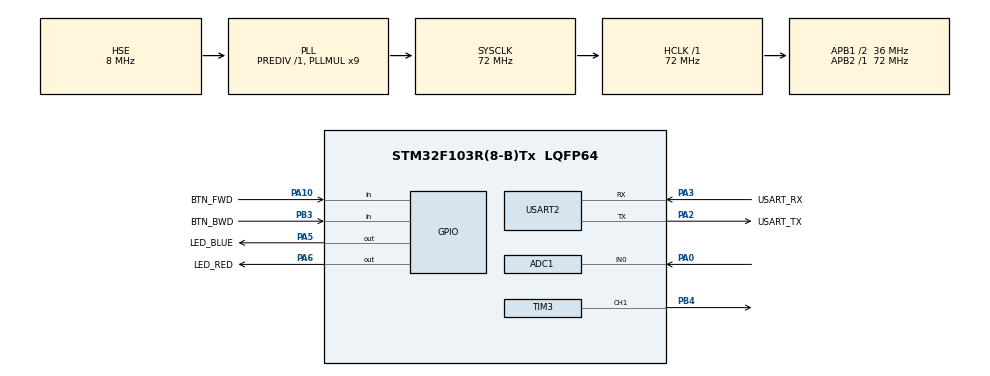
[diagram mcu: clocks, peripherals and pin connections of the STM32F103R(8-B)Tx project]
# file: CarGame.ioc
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ADC1.Channel-1\#ChannelRegularConversion=ADC_CHANNEL_0
ADC1.EnableInjectedConversion=DISABLE
ADC1.InjNumberOfConversion=1
ADC1.NbrOfConversion=1
ADC1.NbrOfConversionFlag=1
ADC1.Rank-1\#ChannelRegularConversion=1
ADC1.SamplingTime-1\#ChannelRegularConversion=ADC_SAMPLETIME_13CYCLES_5
ADC1.master=1
Mcu.Family=STM32F1
Mcu.Name=STM32F103R(8-B)Tx
Mcu.Package=LQFP64
NVIC.PriorityGroup=NVIC_PRIORITYGROUP_4
PA0-WKUP.Signal=ADCx_IN0
PA10.GPIO_Label=BTN_FWD
PA10.GPIO_PuPd=GPIO_PULLUP
PA10.Signal=GPIO_Input
PA13.GPIO_Label=TMS
PA13.Mode=Serial_Wire
PA13.Signal=SYS_JTMS-SWDIO
PA14.GPIO_Label=TCK
PA14.Mode=Serial_Wire
PA14.Signal=SYS_JTCK-SWCLK
PA2.GPIO_Label=USART_TX
PA2.Mode=Asynchronous
PA2.Signal=USART2_TX
PA3.GPIO_Label=USART_RX
PA3.Mode=Asynchronous
PA3.Signal=USART2_RX
PA5.GPIO_Label=LED_BLUE
PA5.Signal=GPIO_Output
PA6.GPIO_Label=LED_RED
PA6.Signal=GPIO_Output
PB3.GPIO_Label=BTN_BWD
PB3.GPIO_PuPd=GPIO_PULLUP
PB3.Signal=GPIO_Input
PB4.Signal=S_TIM3_CH1
PC14-OSC32_IN.Signal=RCC_OSC32_IN
PC15-OSC32_OUT.Signal=RCC_OSC32_OUT
PD0-OSC_IN.Mode=HSE-External-Oscillator
PD0-OSC_IN.Signal=RCC_OSC_IN
PD1-OSC_OUT.Mode=HSE-External-Oscillator
PD1-OSC_OUT.Signal=RCC_OSC_OUT
ProjectManager.HeapSize=0x200
ProjectManager.StackSize=0x400
ProjectManager.TargetToolchain=MDK-ARM V5.32
RCC.ADCPresc=RCC_ADCPCLK2_DIV6
RCC.AHBFreq_Value=72000000
RCC.APB1CLKDivider=RCC_HCLK_DIV2
RCC.APB1Freq_Value=36000000
RCC.APB1TimFreq_Value=72000000
RCC.APB2Freq_Value=72000000
RCC.APB2TimFreq_Value=72000000
RCC.HCLKFreq_Value=72000000
RCC.PLLMUL=RCC_PLL_MUL9
RCC.PLLSourceVirtual=RCC_PLLSOURCE_HSE
RCC.SYSCLKFreq_VALUE=72000000
RCC.SYSCLKSource=RCC_SYSCLKSOURCE_PLLCLK
RCC.USBFreq_Value=72000000
SH.ADCx_IN0.0=ADC1_IN0,IN0
SH.S_TIM3_CH1.0=TIM3_CH1,PWM Generation1 CH1
TIM3.Channel-PWM\ Generation1\ CH1=TIM_CHANNEL_1
TIM3.Period=249
TIM3.Prescaler=71
USART2.VirtualMode=VM_ASYNC
VP_TIM3_VS_ClockSourceINT.Mode=Internal
board=NUCLEO-F103RB

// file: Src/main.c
/* USER CODE BEGIN Header */
/**
  ******************************************************************************
  * @file           : main.c
  * @brief          : CarGame Controller
  ******************************************************************************
  */
/* USER CODE END Header */
#include "main.h"
#include "adc.h"
#include "tim.h"
#include "usart.h"
#include "gpio.h"

/* USER CODE BEGIN Includes */
#include "stdio.h"
/* USER CODE END Includes */

/* USER CODE BEGIN PV */
uint16_t adc_value = 512;
uint8_t forward_btn = 0;
uint8_t backward_btn = 0;

uint32_t red_led_timer = 0;
uint32_t blue_led_timer = 0;
uint32_t buzzer_timer = 0;
/* USER CODE END PV */

void SystemClock_Config(void);
/* USER CODE BEGIN PFP */
void set_red_led(uint8_t state);
void set_blue_led(uint8_t state);
void buzzer_beep(uint32_t duration_ms);
void buzzer_off(void);
void read_buttons(void);
/* USER CODE END PFP */

/* USER CODE BEGIN 0 */
void set_red_led(uint8_t state)
{
	HAL_GPIO_WritePin(LED_RED_GPIO_Port, LED_RED_Pin, state ? GPIO_PIN_SET : GPIO_PIN_RESET);
}

void set_blue_led(uint8_t state)
{
	HAL_GPIO_WritePin(LED_BLUE_GPIO_Port, LED_BLUE_Pin, state ? GPIO_PIN_SET : GPIO_PIN_RESET);
}

void buzzer_beep(uint32_t duration_ms)
{
	__HAL_TIM_SET_AUTORELOAD(&htim3, 500 - 1);
  __HAL_TIM_SET_COMPARE(&htim3, TIM_CHANNEL_1, 250);
  HAL_TIM_PWM_Start(&htim3, TIM_CHANNEL_1);
  buzzer_timer = HAL_GetTick() + duration_ms;
}

void buzzer_off(void)
{
	HAL_TIM_PWM_Stop(&htim3, TIM_CHANNEL_1);
}

void read_buttons(void)
{
    forward_btn  =	(HAL_GPIO_ReadPin(BTN_FWD_GPIO_Port, BTN_FWD_Pin) == GPIO_PIN_RESET) ? 1 : 0;
    backward_btn =	(HAL_GPIO_ReadPin(BTN_BWD_GPIO_Port, BTN_BWD_Pin) == GPIO_PIN_RESET) ? 1 : 0;
}
/* USER CODE END 0 */

int main(void)
{

  /* MCU Configuration--------------------------------------------------------*/

  /* Reset of all peripherals, Initializes the Flash interface and the Systick. */
  HAL_Init();

  /* Configure the system clock */
  SystemClock_Config();

  /* Initialize all configured peripherals */
  MX_GPIO_Init();
  MX_ADC1_Init();
  MX_TIM3_Init();
  MX_USART2_UART_Init();
  /* USER CODE BEGIN 2 */
  set_red_led(0);
  set_blue_led(0);
  buzzer_off();
  /* USER CODE END 2 */

  /* Infinite loop */
  while (1)
  {

    /* USER CODE BEGIN 3 */
    read_buttons();

    HAL_ADC_Start(&hadc1);
    if (HAL_ADC_PollForConversion(&hadc1, 5) == HAL_OK)
		{
			adc_value = (uint16_t)(HAL_ADC_GetValue(&hadc1) >> 2);
    }

    char tx_buffer[32];
    int len = snprintf(tx_buffer, sizeof(tx_buffer), "S%u,F%u,B%u\n",
                       (unsigned)adc_value,
                       (unsigned)forward_btn,
                       (unsigned)backward_btn);

    if (len > 0)
		{
			HAL_UART_Transmit(&huart2, (uint8_t*)tx_buffer, (uint16_t)len, 20);
    }

    while (__HAL_UART_GET_FLAG(&huart2, UART_FLAG_RXNE) != RESET)
		{
			uint8_t rx_data = (uint8_t)(huart2.Instance->DR & 0xFF);

      if (rx_data == 'C')
			{
          set_blue_led(1);
          blue_led_timer = HAL_GetTick() + 200;
          buzzer_beep(100);
      }
      else if (rx_data == 'X')
			{
          set_red_led(1);
          red_led_timer = HAL_GetTick() + 500;
          buzzer_beep(300);
      }
    }

		if (__HAL_UART_GET_FLAG(&huart2, UART_FLAG_ORE) != RESET)
		{
			__HAL_UART_CLEAR_OREFLAG(&huart2);
    }

    uint32_t current_tick = HAL_GetTick();

    if (red_led_timer > 0 && current_tick >= red_led_timer)
		{
			set_red_led(0);
      red_led_timer = 0;
    }
    if (blue_led_timer > 0 && current_tick >= blue_led_timer)
		{
      set_blue_led(0);
      blue_led_timer = 0;
    }
    if (buzzer_timer > 0 && current_tick >= buzzer_timer)
		{
      buzzer_off();
      buzzer_timer = 0;
    }

    HAL_Delay(15);
  }
  /* USER CODE END 3 */
}

void SystemClock_Config(void)
{
  RCC_OscInitTypeDef RCC_OscInitStruct = {0};
  RCC_ClkInitTypeDef RCC_ClkInitStruct = {0};
  RCC_PeriphCLKInitTypeDef PeriphClkInit = {0};

  /** Initializes the RCC Oscillators according to the specified parameters
  * in the RCC_OscInitTypeDef structure.
  */
  RCC_OscInitStruct.OscillatorType = RCC_OSCILLATORTYPE_HSE;
  RCC_OscInitStruct.HSEState = RCC_HSE_ON;
  RCC_OscInitStruct.HSEPredivValue = RCC_HSE_PREDIV_DIV1;
  RCC_OscInitStruct.HSIState = RCC_HSI_ON;
  RCC_OscInitStruct.PLL.PLLState = RCC_PLL_ON;
  RCC_OscInitStruct.PLL.PLLSource = RCC_PLLSOURCE_HSE;
  RCC_OscInitStruct.PLL.PLLMUL = RCC_PLL_MUL9;
  if (HAL_RCC_OscConfig(&RCC_OscInitStruct) != HAL_OK)
  {
    Error_Handler();
  }

  /** Initializes the CPU, AHB and APB buses clocks
  */
  RCC_ClkInitStruct.ClockType = RCC_CLOCKTYPE_HCLK|RCC_CLOCKTYPE_SYSCLK
                              |RCC_CLOCKTYPE_PCLK1|RCC_CLOCKTYPE_PCLK2;
  RCC_ClkInitStruct.SYSCLKSource = RCC_SYSCLKSOURCE_PLLCLK;
  RCC_ClkInitStruct.AHBCLKDivider = RCC_SYSCLK_DIV1;
  RCC_ClkInitStruct.APB1CLKDivider = RCC_HCLK_DIV2;
  RCC_ClkInitStruct.APB2CLKDivider = RCC_HCLK_DIV1;

  if (HAL_RCC_ClockConfig(&RCC_ClkInitStruct, FLASH_LATENCY_2) != HAL_OK)
  {
    Error_Handler();
  }
  PeriphClkInit.PeriphClockSelection = RCC_PERIPHCLK_ADC;
  PeriphClkInit.AdcClockSelection = RCC_ADCPCLK2_DIV6;
  if (HAL_RCCEx_PeriphCLKConfig(&PeriphClkInit) != HAL_OK)
  {
    Error_Handler();
  }
}

void Error_Handler(void)
{
  __disable_irq();
  while (1)
  {
  }
}
